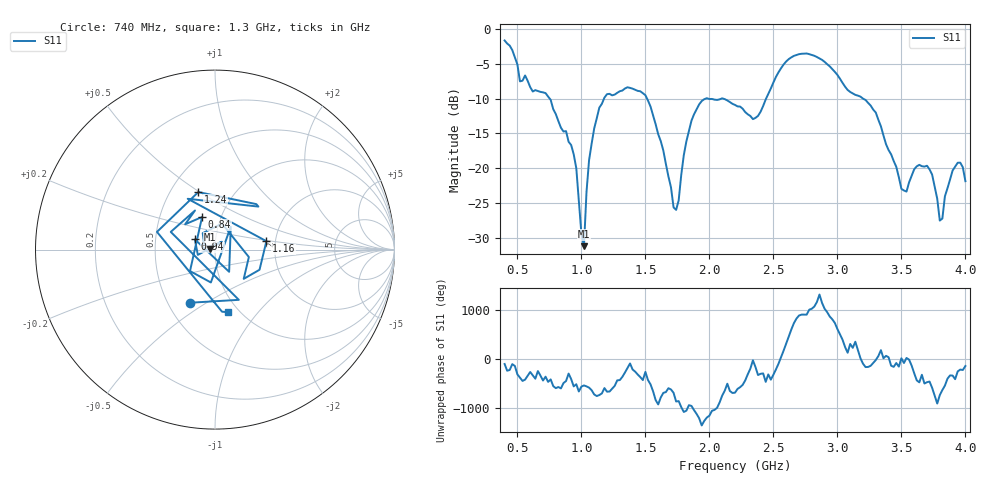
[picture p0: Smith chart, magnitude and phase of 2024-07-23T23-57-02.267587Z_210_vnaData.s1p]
!Created with skrf (http://scikit-rf.org).
# Hz S RI R 50.0
!freq ReS11 ImS11
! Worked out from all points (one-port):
!   181 points, 400 MHz to 4 GHz, reference 50 ohm
!   lowest |S11| = -31.2 dB at 1.02 GHz (marker M1), VSWR 1.06, Z = 47.3 + j0.328 ohm
!   |S11| at or under -10 dB: 752.4 MHz to 1.177 GHz (424.3 MHz wide, 44 % of centre); 1.513 GHz to 1.972 GHz (458.8 MHz wide, 26.3 % of centre); 3.2 GHz to end of sweep (the widest 3 of 5)
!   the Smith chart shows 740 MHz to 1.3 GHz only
!   S11 on the Smith chart (normalised r, x): 740 MHz: 0.64, -0.43; 840 MHz: 0.81, +0.31; 940 MHz: 0.79, +0.09; 1.16 GHz: 1.79, +0.18; 1.24 GHz: 0.69, +0.49; 1.3 GHz: 0.89, -0.71
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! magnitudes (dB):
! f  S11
! 400 MHz  -1.6
! 520 MHz  -7.5
! 740 MHz  -9.7
! 840 MHz  -14.2
! 860 MHz  -14.7
! 940 MHz  -18.0
! 1.02 GHz  -31.2
! 1.06 GHz  -18.8
! 1.16 GHz  -10.7
! 1.24 GHz  -9.5
! 1.3 GHz  -8.9
! 1.5 GHz  -9.5
! 1.64 GHz  -17.5
! 1.72 GHz  -25.6
! 1.76 GHz  -24.6
! 1.82 GHz  -16.2
! 1.92 GHz  -10.8
! 2.2 GHz  -10.9
! 2.38 GHz  -12.5
! 2.66 GHz  -3.9
! 3.1 GHz  -9.0
! 3.3 GHz  -12.0
! 3.5 GHz  -23.0
! 3.56 GHz  -22.0
! 3.7 GHz  -19.6
! 3.8 GHz  -27.5
! 3.9 GHz  -20.3
! 4 GHz  -21.9
